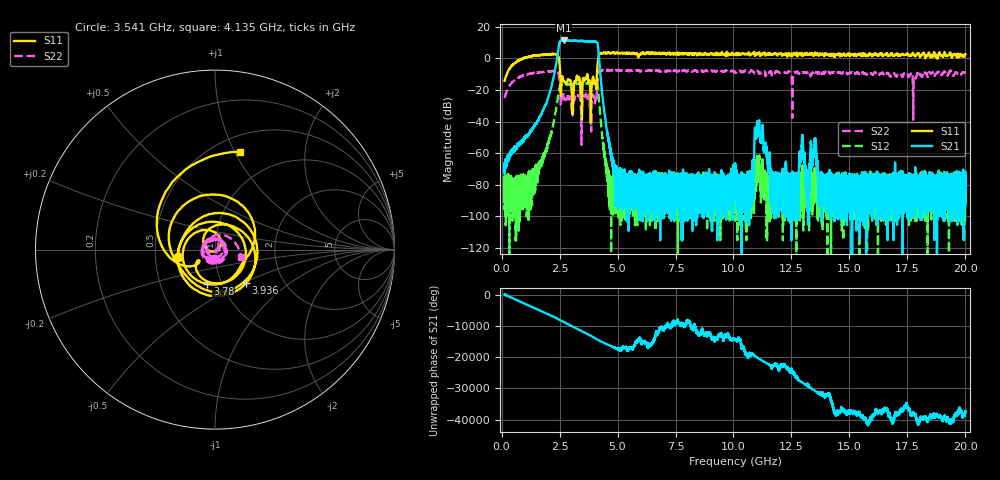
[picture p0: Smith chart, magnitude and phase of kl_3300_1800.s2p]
!Created with skrf (http://scikit-rf.org).
# GHz S RI R 50.0
!freq ReS11 ImS11 ReS21 ImS21 ReS12 ImS12 ReS22 ImS22
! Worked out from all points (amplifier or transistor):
!   20013 points, 130 MHz to 20 GHz, reference 50 ohm
!   highest |S21| = 11.2 dB at 2.674 GHz (marker M1)
!   |S21| within 3 dB of that: 2.478 GHz to 4.15 GHz (1.672 GHz wide, 50.4 % of centre)
!   unconditionally stable (mu >= 1): start of sweep to 904.4 MHz; 905.6 MHz to 961.4 MHz; 2.501 GHz to 4.15 GHz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
!   at 3.465 GHz: K = 1.17, MAG = 11.0 dB, |S12| = -16.0 dB
!   at 10.14 GHz: K = -12603401.38, MSG = 3.9 dB, |S12| = -78.9 dB
!   at 20 GHz: K = -147724325.72, MSG = 7.0 dB, |S12| = -93.3 dB
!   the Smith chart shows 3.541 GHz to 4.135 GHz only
!   S11 on the Smith chart (normalised r, x): 3.541 GHz: 0.66, -0.05; 3.78 GHz: 0.86, -0.34; 3.936 GHz: 1.30, -0.52; 4.135 GHz: 0.66, +1.05
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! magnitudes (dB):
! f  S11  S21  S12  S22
! 130 MHz  -14.3  -69.8  -85.8  -25.1
! 1.461 GHz  1.8  -41.6  -73.6  -9.2
! 2.674 GHz  -14.5  11.2  -16.8  -25.0
! 3.442 GHz  -20.4  10.9  -16.0  -52.4
! 3.541 GHz  -13.6  10.9  -16.0  -25.8
! 3.78 GHz  -14.1  10.6  -16.1  -24.4
! 3.936 GHz  -11.9  10.5  -16.2  -23.6
! 4.135 GHz  -5.0  9.4  -17.1  -16.5
! 4.575 GHz  3.3  -48.4  -77.7  -7.3
! 4.975 GHz  3.5  -73.2  -75.5  -7.7
! 6.754 GHz  2.9  -84.6  -84.2  -8.0
! 10.06 GHz  2.9  -67.8  -96.7  -9.1
! 10.71 GHz  1.8  -82.2  -77.2  -8.7
! 11.02 GHz  2.8  -40.3  -64.1  -8.0
! 11.71 GHz  2.5  -72.1  -90.6  -9.1
! 12.71 GHz  3.6  -76.5  -76.4  -8.6
! 12.95 GHz  3.0  -51.0  -76.2  -8.9
! 13.19 GHz  2.5  -87.3  -80.3  -8.9
! 13.38 GHz  2.9  -62.6  -75.2  -9.4
! 13.75 GHz  2.7  -76.4  -79.3  -8.2
! 16.69 GHz  2.2  -84.9  -94.0  -9.8
! 20 GHz  2.5  -79.3  -93.3  -9.3
